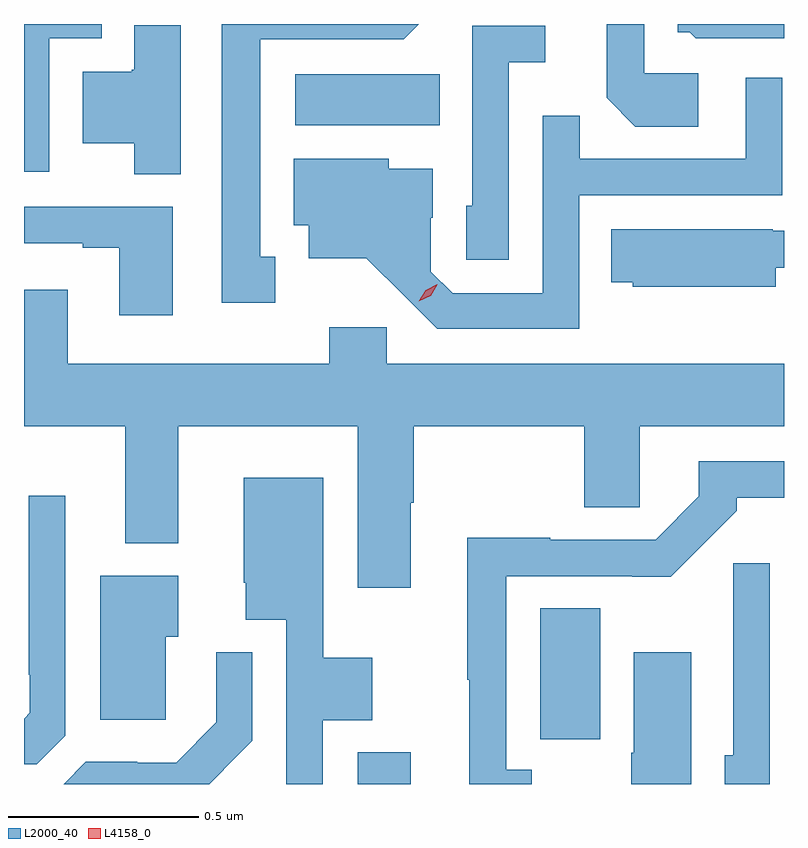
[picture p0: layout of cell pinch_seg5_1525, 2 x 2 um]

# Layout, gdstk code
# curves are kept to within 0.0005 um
import gdstk
lib = gdstk.Library(unit=1e-6, precision=1e-09)
def R(c, l, rs):  # rectangles x0, y0, x1, y1
    for r in rs: c.add(gdstk.rectangle(r[:2], r[2:], *l))
def P(c, l, *ps):  # polygons
    for p in ps: c.add(gdstk.Polygon(p, *l))
L2000_40 = (2000, 40)
L4158_0 = (4158, 0)

pinch_seg5_1525 = lib.new_cell('pinch_seg5_1525')
R(pinch_seg5_1525, L2000_40, [(124.886,886.454,125.026,886.537), (125.366,886.572,125.524,886.916), (124.722,888.188,125.102,888.322)])
P(pinch_seg5_1525, L2000_40, [(125.782,888.324),(125.64,888.324),(125.64,888.454),(125.541,888.454),(125.541,888.26),(125.617,888.184),(125.782,888.184)],
  [(124.669,887.841),(124.63,887.841),(124.63,888.414),(125.007,888.414),(125.047,888.454),(124.529,888.454),(124.529,887.721),(124.669,887.721)],
  [(125.91,888.417),(126.008,888.417),(126.008,888.454),(125.729,888.454),(125.729,888.432),(125.76,888.432),(125.776,888.416),(125.91,888.416)],
  [(124.075,888.416),(124.213,888.416),(124.213,888.454),(124.008,888.454),(124.008,888.065),(124.075,888.065)],
  [(124.42,888.451),(124.298,888.451),(124.298,888.334),(124.292,888.334),(124.292,888.328),(124.163,888.328),(124.163,888.14),(124.298,888.14),(124.298,888.058),(124.42,888.058)],
  [(125.283,888.353),(125.38,888.353),(125.38,888.45),(125.187,888.45),(125.187,887.976),(125.172,887.976),(125.172,887.833),(125.283,887.833)],
  [(125.469,888.003),(126.003,888.003),(126.003,888.313),(125.907,888.313),(125.907,888.099),(125.471,888.099),(125.471,888.212),(125.373,888.212),(125.373,887.745),(125.136,887.745),(125.079,887.802),(125.079,887.944),(125.083,887.944),(125.083,888.073),(124.968,888.073),(124.968,888.1),(124.718,888.1),(124.718,887.924),(124.757,887.924),(124.757,887.837),(124.909,887.837),(125.096,887.652),(125.469,887.652)],
  [(124.399,887.973),(124.008,887.973),(124.008,887.877),(124.163,887.877),(124.163,887.865),(124.259,887.865),(124.259,887.688),(124.399,887.688)],
  [(125.986,887.813),(126.008,887.813),(126.008,887.91),(125.978,887.91),(125.978,887.914),(125.554,887.914),(125.554,887.774),(125.61,887.774),(125.61,887.762),(125.986,887.762)],
  [(125.026,887.194),(125.034,887.194),(125.034,887.396),(125.482,887.396),(125.482,887.182),(125.628,887.182),(125.628,887.396),(126.008,887.396),(126.008,887.56),(124.962,887.56),(124.962,887.656),(124.811,887.656),(124.811,887.56),(124.123,887.56),(124.123,887.755),(124.008,887.755),(124.008,887.396),(124.274,887.396),(124.274,887.087),(124.414,887.087),(124.414,887.396),(124.886,887.396),(124.886,886.971),(125.026,886.971)],
  [(125.344,886.491),(125.277,886.491),(125.277,887.001),(125.609,887.001),(125.609,887),(125.71,887),(125.884,887.173),(125.884,887.207),(126.008,887.207),(126.008,887.304),(125.784,887.304),(125.784,887.211),(125.67,887.097),(125.393,887.097),(125.393,887.102),(125.174,887.102),(125.174,886.728),(125.18,886.728),(125.18,886.454),(125.344,886.454)],
  [(124.794,886.622),(124.924,886.622),(124.924,886.786),(124.795,886.786),(124.795,887.26),(124.586,887.26),(124.586,886.983),(124.592,886.983),(124.592,886.886),(124.698,886.886),(124.698,886.454),(124.794,886.454)],
  [(124.116,886.581),(124.116,887.212),(124.02,887.212),(124.02,886.741),(124.023,886.741),(124.023,886.641),(124.008,886.626),(124.008,886.506),(124.041,886.506)],
  [(125.97,887.035),(125.874,887.035),(125.874,886.53),(125.852,886.53),(125.852,886.454),(125.97,886.454)],
  [(124.381,886.841),(124.414,886.841),(124.414,887.002),(124.208,887.002),(124.208,886.623),(124.381,886.623)],
  [(124.533,886.491),(124.532,886.492),(124.608,886.568),(124.608,886.801),(124.514,886.801),(124.514,886.616),(124.408,886.51),(124.306,886.51),(124.306,886.512),(124.17,886.512),(124.112,886.454),(124.496,886.454)],
  [(125.764,886.801),(125.612,886.801),(125.612,886.536),(125.606,886.536),(125.606,886.454),(125.764,886.454)])
P(pinch_seg5_1525, L4158_0, [(125.047,887.724),(125.047,887.724),(125.065,887.754),(125.096,887.769),(125.096,887.769),(125.096,887.768),(125.078,887.739),(125.047,887.724)])

lib.write_gds('pinch_seg5_1525.gds')
